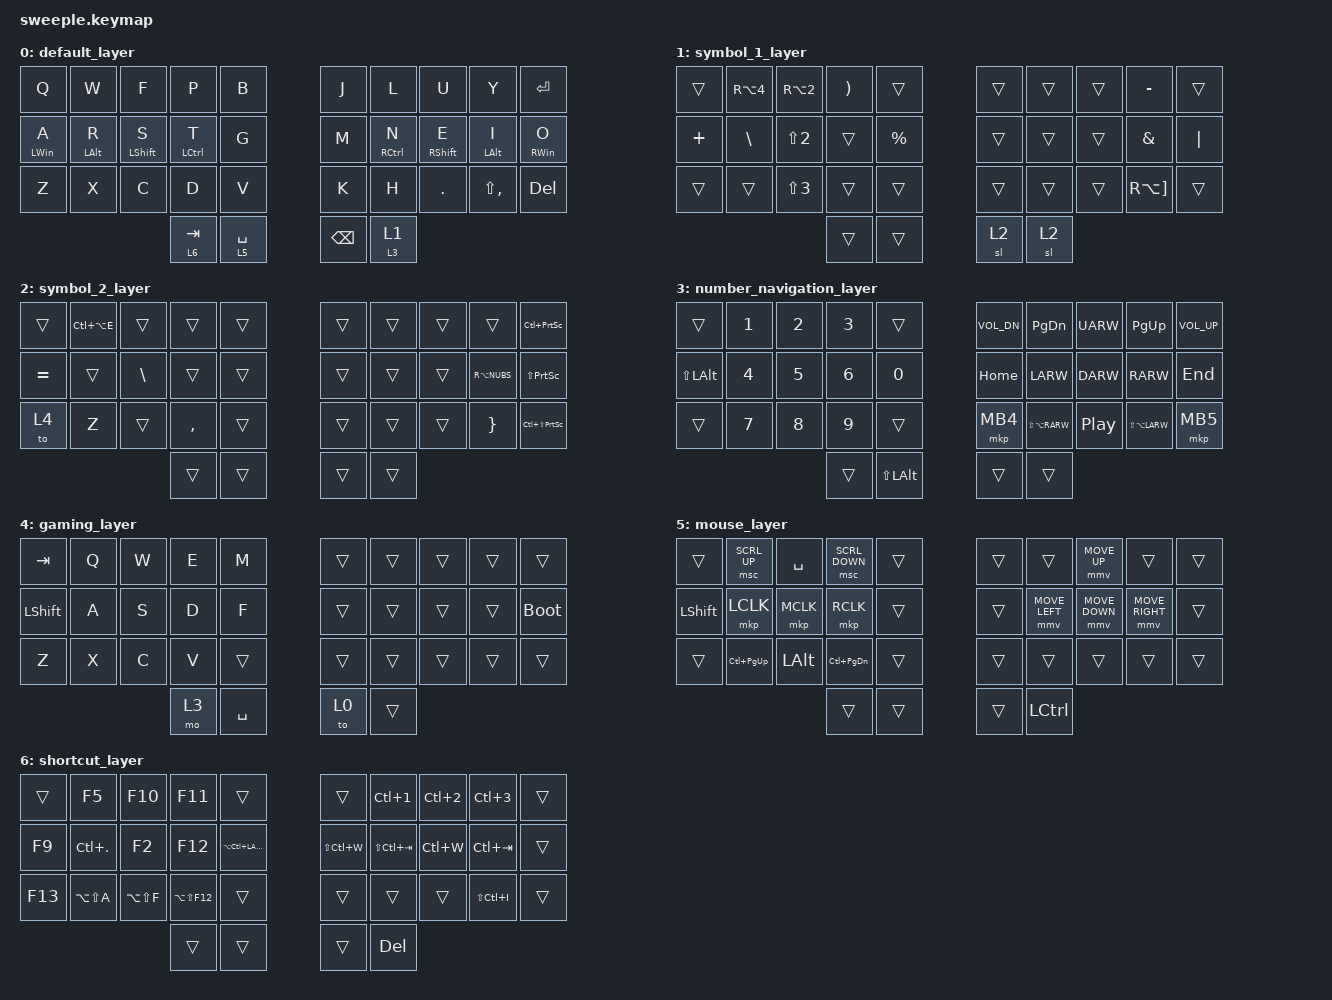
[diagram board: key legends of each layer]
#include <behaviors.dtsi>
#include <behaviors/mouse_keys.dtsi>
#include <dt-bindings/zmk/keys.h>
#include <dt-bindings/zmk/bt.h>
#include <dt-bindings/zmk/pointing.h>
#include <dt-bindings/zmk/mouse.h>

#define KEYS_L 0 1 2 3 4 10 11 12 13 14 20 21 22 23 24
#define KEYS_R 5 6 7 8 9 15 16 17 18 19 25 26 27 28 29
#define KEYS_T 30 31 32 33

/ {
    behaviors {
        morph_curlybracket: morph_curlybracket {
            compatible = "zmk,behavior-mod-morph";
            #binding-cells = <0>;
            bindings = <&kp RA(N7)>, <&kp RA(N0)>;
            mods = <(MOD_LSFT|MOD_RSFT)>;
        };
        morph_parenthesis: morph_parenthesis {
            compatible = "zmk,behavior-mod-morph";
            #binding-cells = <0>;
            bindings = <&kp ASTRK>, <&kp LPAR>;
            mods = <(MOD_LSFT|MOD_RSFT)>;
        };
        morph_bracket: morph_bracket {
            compatible = "zmk,behavior-mod-morph";
            #binding-cells = <0>;
            bindings = <&kp RA(N8)>, <&kp RA(N9)>;
            mods = <(MOD_LSFT|MOD_RSFT)>;
        };
        morph_lt_gt: morph_lt_gt {
            compatible = "zmk,behavior-mod-morph";
            #binding-cells = <0>;
            bindings = <&kp NUBS>, <&kp LS(NUBS)>;
            mods = <(MOD_LSFT|MOD_RSFT)>;
        };
        morph_minus_under: morph_minus_under {
            compatible = "zmk,behavior-mod-morph";
            #binding-cells = <0>;
            bindings = <&kp FSLH>, <&kp LS(FSLH)>;
            mods = <(MOD_LSFT|MOD_RSFT)>;
        };
        
        morph_and_or: morph_and_or {
            compatible = "zmk,behavior-mod-morph";
            #binding-cells = <0>;
            bindings = <&kp CARET>, <&kp RA(EQUAL)>;
            mods = <(MOD_LSFT|MOD_RSFT)>;
        };
        morph_dot: morph_dot {
            compatible = "zmk,behavior-mod-morph";
            #binding-cells = <0>;
            bindings = <&kp DOT>, <&kp LS(DOT)>;
            mods = <(MOD_LSFT|MOD_RSFT)>;
        };
        morph_comma: morph_comma {
            compatible = "zmk,behavior-mod-morph";
            #binding-cells = <0>;
            bindings = <&kp COMMA>, <&kp LS(COMMA)>;
            mods = <(MOD_LSFT|MOD_RSFT)>;
        };
        morph_qmark_emark: morph_qmark_emark {
            compatible = "zmk,behavior-mod-morph";
            #binding-cells = <0>;
            bindings = <&kp UNDER>, <&kp LS(EXCL)>;
            mods = <(MOD_LSFT|MOD_RSFT)>;
        };
        
        lpht: left_positional_hold_tap {
            compatible = "zmk,behavior-hold-tap";
            #binding-cells = <2>;
            flavor = "balanced";
            tapping-term-ms = <220>;
            quick-tap-ms = <175>;
            require-prior-idle-ms = <150>;
            bindings = <&kp>, <&kp>;
            hold-trigger-key-positions = <KEYS_R KEYS_T>;
            hold-trigger-on-release;
        };
        rpht: right_positional_hold_tap {
            compatible = "zmk,behavior-hold-tap";
            #binding-cells = <2>;
            flavor = "balanced";
            tapping-term-ms = <220>;
            quick-tap-ms = <175>;
            require-prior-idle-ms = <150>;
            bindings = <&kp>, <&kp>;
            hold-trigger-key-positions = <KEYS_L KEYS_T>;
            hold-trigger-on-release;
        };
        htl: hold_tap_leader {
            label = "leader_hold_tap";
            compatible = "zmk,behavior-hold-tap";
            #binding-cells = <2>; 
            flavor = "tap-preferred"; 
            tapping-term-ms = <150>; 
            bindings = <&mo>, <&sl>; 
        };

        htlk: hold_tap_leader_kp {
            label = "leader_hold_tap_kp";
            compatible = "zmk,behavior-hold-tap";
            #binding-cells = <2>; 
            flavor = "tap-preferred"; 
            tapping-term-ms = <200>; 
            bindings = <&mo>, <&kp>; 
        };
    };

    combos {
        compatible = "zmk,combos";
        combo_aa {
            timeout-ms = <30>;
            key-positions = <17 18>; 
            layers = <0>;
            bindings = <&kp LBKT>;
        };
        combo_ae {
            timeout-ms = <30>;
            key-positions = <7 8>;
            layers = <0>;
            bindings = <&kp SEMI>; 
        };
         combo_ao {
            timeout-ms = <30>;
            key-positions = <27 28>; 
            layers = <0>;
            bindings = <&kp SQT>; 
        };

        combo_morph_curlybracket {
            timeout-ms = <30>;
            key-positions = <16 7>; 
            layers = <0 4>;
            bindings = <&morph_curlybracket>; 
        };
        combo_parenthesis {
            timeout-ms = <30>;
            key-positions = <16 17>; 
            layers = <0 4>;
            bindings = <&morph_parenthesis>; 
        };
        combo_bracket {
            timeout-ms = <30>;
            key-positions = <16 27>; 
            layers = <0 4>;
            bindings = <&morph_bracket>; 
        };
        combo_lt_gt {
            timeout-ms = <30>;
            key-positions = <6 7>; 
            layers = <0 4>;
            bindings = <&morph_lt_gt>; 
        };
        combo_minus_under {
            timeout-ms = <30>;
            key-positions = <26 27>; 
            layers = <0 4>;
            bindings = <&morph_minus_under>; 
        };


        combo_and_or {
            timeout-ms = <30>;
            key-positions = <2 3>; 
            layers = <0 4>;
            bindings = <&morph_and_or>; 
        };
        combo_dot {
            timeout-ms = <30>;
            key-positions = <12 13>; 
            layers = <0 4>;
            bindings = <&morph_dot>; 
        };
        combo_comma {
            timeout-ms = <30>;
            key-positions = <2 13>; 
            layers = <0 4>;
            bindings = <&morph_comma>; 
        };
        combo_qmark_emark {
            timeout-ms = <30>;
            key-positions = <22 23>; 
            layers = <0 4>;
            bindings = <&morph_qmark_emark>; 
        };
        
        
        combo_esc {
            timeout-ms = <30>;
            key-positions = <0 1>; 
            layers = <0 4>;
            bindings = <&kp ESC>; 
        };
        
        combo_paste {
            timeout-ms = <30>;
            key-positions = <1 2>; 
            layers = <0>;
            bindings = <&kp LC(V)>; 
        };
        combo_copy {
            timeout-ms = <30>;
            key-positions = <21 22>; 
            layers = <0>;
            bindings = <&kp LC(C)>; 
        };
    };
    
    keymap {
        compatible = "zmk,keymap";
        default_layer {
            bindings = <
        //╭──────────┬──────────┬──────────┬──────────┬──────────╮   ╭──────────┬──────────┬──────────┬──────────┬──────────╮
            &kp Q     &kp W       &kp F      &kp P      &kp B          &kp J      &kp L      &kp U      &kp Y      &kp RET
        //├──────────┼──────────┼──────────┼──────────┼──────────┤   ├──────────┼──────────┼──────────┼──────────┼──────────┤
        &lpht LWIN A &lpht LALT R &lpht LSHIFT S &lpht LCTRL T &kp G   &kp M      &rpht RCTRL N &rpht RSHIFT E &rpht LALT I &rpht RWIN O
        //├──────────┼──────────┼──────────┼──────────┼──────────┤   ├──────────┼──────────┼──────────┼──────────┼──────────┤
            &kp Z     &kp X       &kp C      &kp D      &kp V          &kp K      &kp H      &kp DOT    &kp LS(COMMA) &kp DEL
        //╰──────────┴──────────┴──────────┼──────────┼──────────┤   ├──────────┼──────────┼──────────┴──────────┴──────────╯
                                           &lt 6 TAB    &htlk 5 SPACE  &kp BSPC   &htl 3 1
        //                                 ╰──────────┴──────────╯   ╰──────────┴──────────╯
            >;
        };

        symbol_1_layer {
            bindings = <
        //╭──────────┬──────────┬──────────┬──────────┬──────────╮   ╭──────────┬──────────┬──────────┬──────────┬──────────╮
        //│          │  $       │  @       │  =       │ |        │   │          │  <       │  ?       │  +       │          │
            &trans     &kp RA(N4) &kp RA(N2) &kp RPAR   &trans        &trans     &trans     &trans     &kp MINUS  &trans
        //├──────────┼──────────┼──────────┼──────────┼──────────┤   ├──────────┼──────────┼──────────┼──────────┼──────────┤
        //│  `       │  '       │  "       │  :       │  %       │   │  (       │  -       │  &       │  /       │  *       │
            &kp PLUS   &kp BSLH  &kp LS(N2) &trans     &kp PRCNT      &trans     &trans     &trans     &kp AMPS   &kp PIPE
        //├──────────┼──────────┼──────────┼──────────┼──────────┤   ├──────────┼──────────┼──────────┼──────────┼──────────┤
        //│          │          │  #       │  .       │          │   │          │  {       │  [       │  ~       │          │
            &trans     &trans     &kp LS(N3) &trans    &trans         &trans     &trans     &trans     &kp RA(RBKT) &trans
        //╰──────────┴──────────┴──────────┼──────────┼──────────┤   ├──────────┼──────────┼──────────┴──────────┴──────────╯
                                            &trans      &trans         &sl 2      &sl 2
        //                                 ╰──────────┴──────────╯   ╰──────────┴──────────╯
            >; 
        };
 
        symbol_2_layer {
            bindings = <
        //╭──────────┬──────────┬──────────┬──────────┬──────────╮   ╭──────────┬──────────┬──────────┬──────────┬──────────╮
        //│          │  €       │          │          │          │   │          │  >       │  !       │          │          │
            &trans     &kp LC(LA(E)) &trans  &trans    &trans         &trans     &trans      &trans     &trans      &kp LC(PSCRN)
        //├──────────┼──────────┼──────────┼──────────┼──────────┤   ├──────────┼──────────┼──────────┼──────────┼──────────┤
        //│  ´       │          │  '       │  ;       │          │   │  )       │  _       │  |       │ \        │          │
            &kp EQUAL  &trans     &kp BSLH   &trans    &trans         &trans     &trans     &trans     &kp RA(NUBS) &kp LS(PSCRN)
        //├──────────┼──────────┼──────────┼──────────┼──────────┤   ├──────────┼──────────┼──────────┼──────────┼──────────┤
        //│          │          │          │  ,       │          │   │          │  }       │  ]       │  ^       │          │
            &to 4      &kp Z      &trans     &kp COMMA  &trans         &trans    &trans    &trans    &kp RBRC    &kp LC(LS(PSCRN))
        //╰──────────┴──────────┴──────────┼──────────┼──────────┤   ├──────────┼──────────┼──────────┴──────────┴──────────╯
                                             &trans     &trans         &trans     &trans
        //                                 ╰──────────┴──────────╯   ╰──────────┴──────────╯
            >;
        };

        number_navigation_layer {
            bindings = <
        //╭──────────┬──────────┬──────────┬──────────┬──────────╮   ╭──────────┬──────────┬──────────┬──────────┬──────────╮
        //│          │  1       │  2       │  3       │          │   │ VOL DOWN │ PAGE DN  │ UP       │ PAGE UP  │ VOL UP   │ 
            &trans     &kp N1     &kp N2     &kp N3     &trans        &kp C_VOL_DN &kp PG_DN  &kp UARW   &kp PG_UP  &kp C_VOL_UP
        //├──────────┼──────────┼──────────┼──────────┼──────────┤   ├──────────┼──────────┼──────────┼──────────┼──────────┤
        //│          │  4       │  5       │  6       │  0       │   │ HOME     │ LEFT     │ DOWN     │ RIGHT    │END       │
         &kp LS(LALT)  &kp N4     &kp N5     &kp N6     &kp N0         &kp HOME    &kp LARW   &kp DARW   &kp RARW   &kp END
        //├──────────┼──────────┼──────────┼──────────┼──────────┤   ├──────────┼──────────┼──────────┼──────────┼──────────┤
        //│          │  7       │  8       │  9       │          │   │ BACK     │+selection│PLAY PAUSE│-selection│ FORWARD  │
            &trans     &kp N7     &kp N8     &kp N9     &trans      &mkp MB4 &kp LS(LA(RARW)) &kp C_PP &kp LS(LA(LARW)) &mkp MB5
        //╰──────────┴──────────┴──────────┼──────────┼──────────┤   ├──────────┼──────────┼──────────┴──────────┴──────────╯
                                             &trans     &kp LS(LALT)   &trans     &trans
        //                                 ╰──────────┴──────────╯   ╰──────────┴──────────╯
            >;
        };
        
        gaming_layer {
            bindings = <
        //╭──────────┬──────────┬──────────┬──────────┬──────────╮   ╭──────────┬──────────┬──────────┬──────────┬──────────╮
            &kp TAB   &kp Q      &kp W      &kp E      &kp M          &trans     &trans     &trans     &trans     &trans
        //├──────────┼──────────┼──────────┼──────────┼──────────┤   ├──────────┼──────────┼──────────┼──────────┼──────────┤
            &kp LSHIFT &kp A     &kp S      &kp D      &kp F          &trans     &trans     &trans     &trans    &bootloader
        //├──────────┼──────────┼──────────┼──────────┼──────────┤   ├──────────┼──────────┼──────────┼──────────┼──────────┤
            &kp Z      &kp X      &kp C      &kp V      &trans        &trans     &trans     &trans     &trans     &trans
        //╰──────────┴──────────┴──────────┼──────────┼──────────┤   ├──────────┼──────────┼──────────┴──────────┴──────────╯
                                            &mo 3      &kp SPACE      &to 0      &trans
        //                                 ╰──────────┴──────────╯   ╰──────────┴──────────╯
            >;
        };

        mouse_layer {
            bindings = <
        //╭──────────┬──────────┬──────────┬──────────┬──────────╮   ╭──────────┬──────────┬──────────┬──────────┬──────────╮
        //│          │          │          │          │          │   │          │          │          │          │          │
            &trans    &msc SCRL_UP &kp SPACE &msc SCRL_DOWN &trans     &trans     &trans   &mmv MOVE_UP &trans     &trans
        //├──────────┼──────────┼──────────┼──────────┼──────────┤   ├──────────┼──────────┼──────────┼──────────┼──────────┤
        //│          │          │          │          │          │   │          │          │          │          │          │
            &kp LSHIFT &mkp LCLK  &mkp MCLK  &mkp RCLK  &trans         &trans  &mmv MOVE_LEFT &mmv MOVE_DOWN &mmv MOVE_RIGHT  &trans     
        //├──────────┼──────────┼──────────┼──────────┼──────────┤   ├──────────┼──────────┼──────────┼──────────┼──────────┤
        //│          │          │          │          │          │   │          │          │          │          │          │
            &trans  &kp LC(PG_UP) &kp LALT &kp LC(PG_DN) &trans         &trans     &trans     &trans     &trans     &trans
        //╰──────────┴──────────┴──────────┼──────────┼──────────┤   ├──────────┼──────────┼──────────┴──────────┴──────────╯
                                             &trans     &trans         &trans     &kp LCTRL
        //                                 ╰──────────┴──────────╯   ╰──────────┴──────────╯
            >;
        };

        shortcut_layer {
            bindings = <
        //╭──────────┬──────────┬──────────┬──────────┬──────────╮   ╭──────────┬──────────┬──────────┬──────────┬──────────╮
        //│          │ Continue │ Step over│ Step into│          │   │          │          │          │          │          │
            &trans     &kp F5     &kp F10    &kp F11    &trans         &trans     &kp LC(N1) &kp LC(N2) &kp LC(N3) &trans
        //├──────────┼──────────┼──────────┼──────────┼──────────┤   ├──────────┼──────────┼──────────┼──────────┼──────────┤
        //│breakpoint│Fix       │ Rename   │ Goto def │ annotate │   │          │          │          │          │          │
            &kp F9    &kp LC(DOT) &kp F2     &kp F12  &kp LA(LC(LARW)) &kp LS(LC(W)) &kp LS(LC(TAB)) &kp LC(W) &kp LC(TAB) &trans
        //├──────────┼──────────┼──────────┼──────────┼──────────┤   ├──────────┼──────────┼──────────┼──────────┼──────────┤
        //│          │          │          │References│          │   │          │          │          │          │          │
            &kp F13   &kp LA(LS(A)) &kp LA(LS(F)) &kp LA(LS(F12))      &trans    &trans     &trans     &trans  &kp LS(LC(I)) &trans
        //╰──────────┴──────────┴──────────┼──────────┼──────────┤   ├──────────┼──────────┼──────────┴──────────┴──────────╯
                                             &trans     &trans         &trans     &kp DEL
        //                                 ╰──────────┴──────────╯   ╰──────────┴──────────╯
            >;
        };
    };
};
